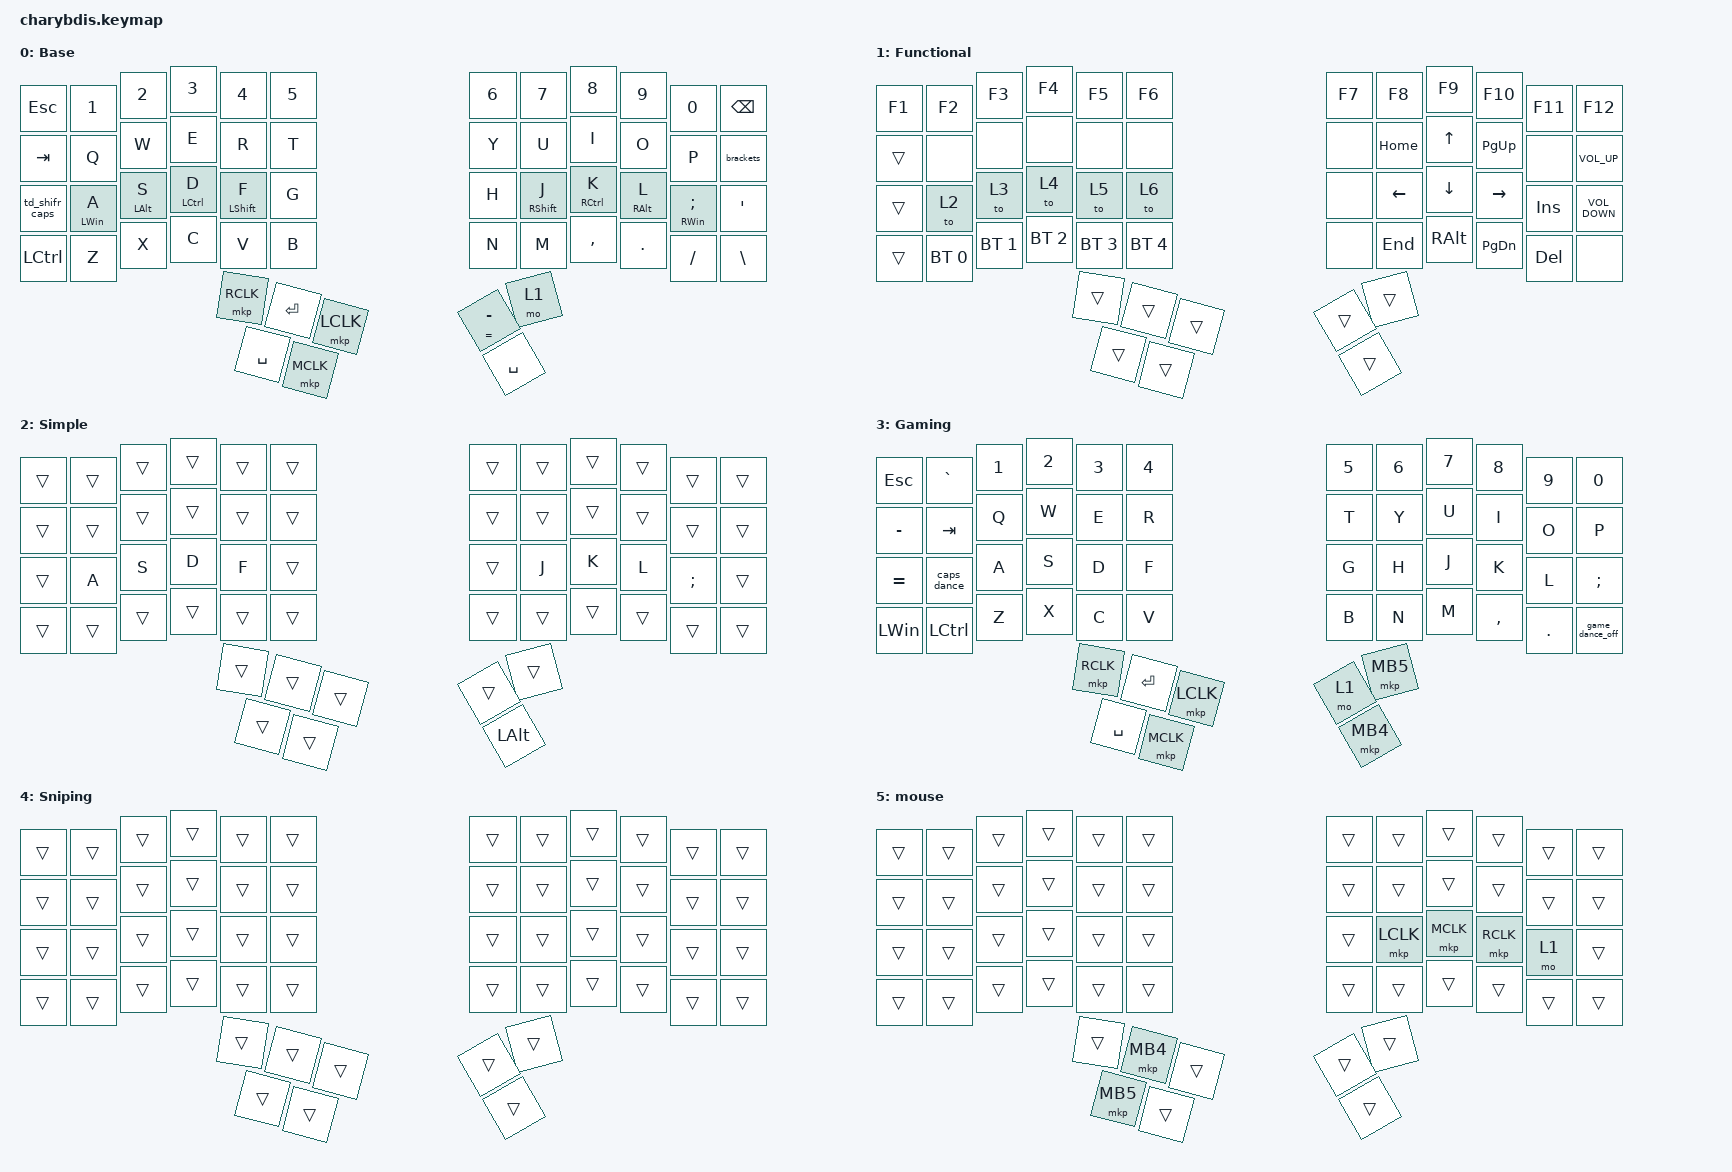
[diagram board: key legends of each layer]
#include <dt-bindings/zmk/mouse.h>
#include <behaviors/mouse_keys.dtsi>
#include <dt-bindings/zmk/modifiers.h>
#include <behaviors.dtsi>
#include <dt-bindings/zmk/bt.h>
#include <dt-bindings/zmk/keys.h>
#include <dt-bindings/zmk/pointing.h>
#include <dt-bindings/zmk/rgb.h>

/ {
    chosen { zmk,physical-layout = &charybdis_6col_layout; };
};

&mt {
    quick-tap-ms = <150>;
    flavor = "tap-preferred";
    tapping-term-ms = <150>;
    require-prior-idle-ms = <150>;
};

&lt {
    quick-tap-ms = <170>;
    flavor = "tap-preferred";
    tapping-term-ms = <150>;
};

// Layer definitions

#define QWERTY 0
#define FUNCTIONAL 1
#define SYMBOLS 2
#define GAMING 3
#define SNIPING 4

// #define SCROLL 5
// #define SNIPING 6
// #define GAMING 7

/ {
    behaviors {
        ts_snipe: trackball_snipe {
            compatible = "zmk,behavior-pointing-snipe";
            #binding-cells = <0>;
            velocity-multiplier = <4 1>;
        };

        ts_scroll: trackball_scroll {
            compatible = "zmk,behavior-pointing-scroll";
            #binding-cells = <0>;
            trigger-toggle;
        };

        game_dance_on: game_dance_on {
            compatible = "zmk,behavior-tap-dance";
            #binding-cells = <0>;
            tapping-term-ms = <250>;
            bindings = <&kp SEMI>, <&tog_game_on>;
        };

        game_dance_off: game_dance_off {
            compatible = "zmk,behavior-tap-dance";
            #binding-cells = <0>;
            tapping-term-ms = <180>;
            bindings = <&kp SLASH>, <&tog_game_off>;
        };

        caps_dance: caps_dance {
            compatible = "zmk,behavior-tap-dance";
            label = "CAPS_DANCE";
            #binding-cells = <0>;
            bindings = <&kp LEFT_SHIFT>, <&kp CAPSLOCK>;
        };

        td_shifr_caps: td_shifr_caps {
            compatible = "zmk,behavior-tap-dance";
            label = "TD_SHIFR_CAPS";
            #binding-cells = <0>;
            bindings = <&mt LEFT_SHIFT LEFT_SHIFT>, <&kp CAPSLOCK>;

            tapping-term-ms = <200>;
        };

        brackets: brackets {
            compatible = "zmk,behavior-tap-dance";
            label = "BRACKETS";
            #binding-cells = <0>;
            bindings = <&kp LEFT_BRACKET>, <&kp RIGHT_BRACKET>;
        };

        // Hold-tap behavior for layer with tap-preferred

        blt: blt {
            compatible = "zmk,behavior-hold-tap";
            #binding-cells = <2>;
            flavor = "tap-preferred";
            tapping-term-ms = <200>;
            quick-tap-ms = <300>;
            require-prior-idle-ms = <100>;
            bindings = <&mo>, <&kp>;
        };

        // Tap-dance for GUI/Ctrl+B

        gui_ctrlb: gui_ctrlb {
            compatible = "zmk,behavior-tap-dance";
            #binding-cells = <0>;
            tapping-term-ms = <200>;
            bindings = <&kp LGUI>, <&kp LC(B)>;
        };

        // Tap/hold Alt, double-tap Ctrl+Shift+Z

        lalt_dt: lalt_dt {
            compatible = "zmk,behavior-tap-dance";
            #binding-cells = <0>;
            tapping-term-ms = <200>;
            bindings = <&kp LALT>, <&kp LC(LS(Z))>;
        };

        // Home row mods - Left hand

        hml: home_row_mod_left {
            compatible = "zmk,behavior-hold-tap";
            #binding-cells = <2>;
            flavor = "balanced";
            require-prior-idle-ms = <150>;
            tapping-term-ms = <280>;
            quick-tap-ms = <175>;
            bindings = <&kp>, <&kp>;

            hold-trigger-key-positions = <6 7 8 9 10 11 18 19 20 21 22 23 30 31 32 33 34 35 42 43 44 45 46 47 53 54 55>; // Right side keys
            hold-trigger-on-release;
        };

        // Home row mods - Right hand

        hmr: home_row_mod_right {
            compatible = "zmk,behavior-hold-tap";
            #binding-cells = <2>;
            flavor = "balanced";
            require-prior-idle-ms = <150>;
            tapping-term-ms = <280>;
            quick-tap-ms = <175>;
            bindings = <&kp>, <&kp>;

            hold-trigger-key-positions = <0 1 2 3 4 5 12 13 14 15 16 17 24 25 26 27 28 29 36 37 38 39 40 41 48 49 50 51 52>; // Left side keys
            hold-trigger-on-release;
        };

        // RGB controls routed globally so split halves stay in sync.

        rgb_loc: rgbloc {
            compatible = "zmk,behavior-rgb-local";
            #binding-cells = <2>;
        };

        // RGB controls: dedicated direct bindings.
    };

    macros {
        tog_game_on: tog_game_on {
            compatible = "zmk,behavior-macro";
            label = "tog_game_on";
            #binding-cells = <0>;
            bindings = <&rgb_ug RGB_COLOR_HSB(0,100,50) &to 6>; // &amc AM_OFF 
        };

        tog_game_off: tog_game_off {
            compatible = "zmk,behavior-macro";
            label = "tog_game_off";
            #binding-cells = <0>;
            bindings = <&rgb_ug RGB_EFR &to 0>; // &amc AM_ON 
        };

        // Ctrl+Alt+Cmd macro

        CAC: CAC {
            compatible = "zmk,behavior-macro-one-param";
            #binding-cells = <1>;
            bindings =
                <&macro_press>,
                <&kp LCTRL &kp LALT &kp LGUI &macro_param_1to1>,
                <&macro_tap>,
                <&kp MACRO_PLACEHOLDER>,
                <&macro_release>,
                <&kp LCTRL &kp LALT &kp LGUI>;
        };

        // Ctrl+Shift+Alt macro

        CSA: CSA {
            compatible = "zmk,behavior-macro-one-param";
            #binding-cells = <1>;
            bindings =
                <&macro_press>,
                <&kp LCTRL &kp LSHIFT &kp LALT &macro_param_1to1>,
                <&macro_tap>,
                <&kp MACRO_PLACEHOLDER>,
                <&macro_release>,
                <&kp LCTRL &kp LSHIFT &kp LALT>;
        };

        // Ctrl+Alt macro

        CA: CA {
            compatible = "zmk,behavior-macro-one-param";
            #binding-cells = <1>;
            bindings =
                <&macro_press>,
                <&kp LCTRL &kp LALT &macro_param_1to1>,
                <&macro_tap>,
                <&kp MACRO_PLACEHOLDER>,
                <&macro_release>,
                <&kp LCTRL &kp LALT>;
        };

        // Hold Ctrl+Cmd+Left Click while key is pressed (for mouse drag window actions)

        ctrl_cmd_hold: ctrl_cmd_hold {
            compatible = "zmk,behavior-macro";
            wait-ms = <0>;
            tap-ms = <10>;
            #binding-cells = <0>;
            bindings =
                <&macro_press>,
                <&kp LCTRL &kp LGUI &mkp LCLK>,
                <&macro_pause_for_release>,
                <&macro_release>,
                <&mkp LCLK &kp LCTRL &kp LGUI>;
        };
    };

    combos {
        compatible = "zmk,combos";
        timeout-ms = <20>;
        require-prior-idle-ms = <250>;

        // Studio Unlock Combo - all three right thumb keys

        combo_studio_unlock {
            timeout-ms = <50>;
            key-positions = <53 54 55>;
            bindings = <&studio_unlock>;
        };

        // Gaming layer toggle combo - keys 49, 55, 54

        combo_gaming_toggle {
            timeout-ms = <50>;
            key-positions = <49 55 54>;
            bindings = <&tog GAMING>;
        };

        bt_clr_cmb {
            bindings = <&bt BT_CLR>;
            key-positions = <17 18>;
            layers = <1>;
            timeout-ms = <50>;
        };

        to_l0_cmb {
            bindings = <&to 0>;
            key-positions = <1 3 10 8>;
        };
    };

    keymap {
        compatible = "zmk,keymap";

        // ╭─────────────┬─────────────┬─────────────┬─────────────┬─────────────┬─────────────╮   ╭─────────────┬─────────────┬─────────────┬─────────────┬─────────────┬─────────────╮
        //    0             1             2             3             4             5                 11            10             9             8             7             6
        // ├─────────────┼─────────────┼─────────────┼─────────────┼─────────────┼─────────────┤   ├─────────────┼─────────────┼─────────────┼─────────────┼─────────────┼─────────────┤
        //   12            13            14            15            16            17                 23            22            21            20            19            18
        // ├─────────────┼─────────────┼─────────────┼─────────────┼─────────────┼─────────────┤   ├─────────────┼─────────────┼─────────────┼─────────────┼─────────────┼─────────────┤
        //   24            25            26            27            28            29                 35            34            33            32            31            30
        // ├─────────────┼─────────────┼─────────────┼─────────────┼─────────────┼─────────────┤   ├─────────────┼─────────────┼─────────────┼─────────────┼─────────────┼─────────────┤
        //   36            37            38            39            40            41                 47            46            45            44            43            42
        // ╰─────────────┴─────────────┴─────────────┴─────────────┴─────────────┴─────────────╯   ╰─────────────┴─────────────┴─────────────┴─────────────┴─────────────┴─────────────╯
        //               ╭─────────────┬─────────────┬─────────────┬─────────────┬─────────────╮   ╭─────────────┬─────────────┬─────────────╮
        //                  48            49            50            51            52                55            54            53
        //               ╰─────────────┴─────────────┴─────────────┴─────────────┴─────────────╯   ╰─────────────┴─────────────┴─────────────╯
        //                                                                         Actual Key Positions
        //                                          ╭─────────────┬─────────────┬─────────────╮    ╭─────────────┬─────────────╮
        //                                             48            49            50                 54            53
        //                                          ╰─────────────┼─────────────┼─────────────┤    ├─────────────┼─────────────╯
        //                                                           51            52                 55
        //                                                        ╰─────────────┴─────────────╯    ╰─────────────╯

        qwerty_layer {
            label = "QWERTY";
            display-name = "Base";
            bindings = <
&kp ESC           &kp N1          &kp N2          &kp N3              &kp N4            &kp N5       &kp N6           &kp N7             &kp N8               &kp N9           &kp N0                   &kp BACKSPACE
&kp TAB           &kp Q           &kp W           &kp E               &kp R             &kp T        &kp Y            &kp U              &kp I                &kp O            &kp P                    &brackets
&td_shifr_caps    &mt LEFT_WIN A  &mt LEFT_ALT S  &mt LEFT_CONTROL D  &mt LEFT_SHIFT F  &kp G        &kp H            &mt RIGHT_SHIFT J  &mt RIGHT_CONTROL K  &mt RIGHT_ALT L  &mt RIGHT_WIN SEMICOLON  &kp APOS
&kp LEFT_CONTROL  &kp Z           &kp X           &kp C               &kp V             &kp B        &kp N            &kp M              &kp COMMA            &kp DOT          &kp FSLH                 &kp BACKSLASH
                                                  &mkp LCLK           &mkp MCLK         &mkp RCLK    &kp ENTER        &kp SPACE
                                                                      &kp SPACE         &mo 1        &mt EQUAL MINUS
            >;
        };

        functional_layer {
            label = "FUNCTIONAL";
            display-name = "Functional";
            bindings = <
&kp F1  &kp F2        &kp F3        &kp F4        &kp F5        &kp F6          &kp F7  &kp F8          &kp F9          &kp F10          &kp F11     &kp F12
&trans  &none         &none         &none         &none         &none           &none   &kp HOME        &kp UP_ARROW    &kp PAGE_UP      &none       &kp C_VOLUME_UP
&trans  &to 2         &to 3         &to 4         &to 5         &to 6           &none   &kp LEFT_ARROW  &kp DOWN_ARROW  &kp RIGHT_ARROW  &kp INSERT  &kp C_VOLUME_DOWN
&trans  &bt BT_SEL 0  &bt BT_SEL 1  &bt BT_SEL 2  &bt BT_SEL 3  &bt BT_SEL 4    &none   &kp END         &kp RIGHT_ALT   &kp PAGE_DOWN    &kp DELETE  &none
                                    &trans        &trans        &trans          &trans  &trans
                                                  &trans        &trans          &trans
            >;
        };

        simple_layer {
            label = "SIMPLE";
            display-name = "Simple";
            bindings = <
&trans  &trans  &trans  &trans  &trans        &trans    &trans  &trans  &trans  &trans  &trans         &trans
&trans  &trans  &trans  &trans  &trans        &trans    &trans  &trans  &trans  &trans  &trans         &trans
&trans  &kp A   &kp S   &kp D   &kp F         &trans    &trans  &kp J   &kp K   &kp L   &kp SEMICOLON  &trans
&trans  &trans  &trans  &trans  &trans        &trans    &trans  &trans  &trans  &trans  &trans         &trans
                        &trans  &trans        &trans    &trans  &trans
                                &kp LEFT_ALT  &trans    &trans
            >;
        };

        gaming_layer {
            label = "GAMING";
            display-name = "Gaming";
            bindings = <
&kp ESC       &kp GRAVE         &kp N1  &kp N2     &kp N3     &kp N4       &kp N5     &kp N6     &kp N7  &kp N8     &kp N9      &kp N0
&kp MINUS     &kp TAB           &kp Q   &kp W      &kp E      &kp R        &kp T      &kp Y      &kp U   &kp I      &kp O       &kp P
&kp EQUAL     &caps_dance       &kp A   &kp S      &kp D      &kp F        &kp G      &kp H      &kp J   &kp K      &kp L       &kp SEMICOLON
&kp LEFT_WIN  &kp LEFT_CONTROL  &kp Z   &kp X      &kp C      &kp V        &kp B      &kp N      &kp M   &kp COMMA  &kp PERIOD  &game_dance_off
                                        &mkp LCLK  &mkp MCLK  &mkp RCLK    &kp ENTER  &kp SPACE
                                                   &mkp MB4   &mkp MB5     &mo 1
            >;
        };

        sniping_layer {
            label = "SNIPING";
            display-name = "Sniping";
            bindings = <
&trans  &trans  &trans  &trans  &trans  &trans    &trans  &trans  &trans  &trans  &trans  &trans
&trans  &trans  &trans  &trans  &trans  &trans    &trans  &trans  &trans  &trans  &trans  &trans
&trans  &trans  &trans  &trans  &trans  &trans    &trans  &trans  &trans  &trans  &trans  &trans
&trans  &trans  &trans  &trans  &trans  &trans    &trans  &trans  &trans  &trans  &trans  &trans
                        &trans  &trans  &trans    &trans  &trans
                                &trans  &trans    &trans
            >;
        };

        mouse {
            bindings = <
&trans  &trans  &trans  &trans  &trans  &trans    &trans    &trans     &trans     &trans     &trans  &trans
&trans  &trans  &trans  &trans  &trans  &trans    &trans    &trans     &trans     &trans     &trans  &trans
&trans  &trans  &trans  &trans  &trans  &trans    &trans    &mkp LCLK  &mkp MCLK  &mkp RCLK  &mo 1   &trans
&trans  &trans  &trans  &trans  &trans  &trans    &trans    &trans     &trans     &trans     &trans  &trans
                        &trans  &trans  &trans    &mkp MB4  &mkp MB5
                                &trans  &trans    &trans
            >;
        };

        //    scroll_layer {
        //      label = "SCROLL";
        //      display-name = "Scroll";
        //      bindings = <
        // ╭─────────────┬─────────────┬─────────────┬─────────────┬─────────────┬─────────────╮   ╭─────────────┬─────────────┬─────────────┬─────────────┬─────────────┬─────────────╮
        //    &trans        &trans        &trans        &trans        &trans        &trans            &trans        &trans        &trans        &trans        &trans        &trans
        // ├─────────────┼─────────────┼─────────────┼─────────────┼─────────────┼─────────────┤   ├─────────────┼─────────────┼─────────────┼─────────────┼─────────────┼─────────────┤
        //    &trans        &trans        &trans        &trans        &trans        &trans            &trans        &trans        &trans        &trans        &trans        &trans
        // ├─────────────┼─────────────┼─────────────┼─────────────┼─────────────┼─────────────┤   ├─────────────┼─────────────┼─────────────┼─────────────┼─────────────┼─────────────┤
        //    &trans        &trans        &trans        &trans        &trans        &trans            &trans        &trans        &trans        &trans        &trans        &trans
        // ├─────────────┼─────────────┼─────────────┼─────────────┼─────────────┼─────────────┤   ├─────────────┼─────────────┼─────────────┼─────────────┼─────────────┼─────────────┤
        //    &trans        &trans        &trans        &trans        &trans        &trans            &trans        &trans        &trans        &trans        &trans        &trans
        // ╰─────────────┴─────────────┴─────────────┴─────────────┴─────────────┴─────────────╯   ╰─────────────┴─────────────┴─────────────┴─────────────┴─────────────┴─────────────╯
        //               ╭─────────────┬─────────────┬─────────────┬─────────────┬─────────────╮   ╭─────────────┬─────────────┬─────────────╮
        //                  &trans        &trans        &trans        &trans        &trans            &trans        &trans        &trans
        //               ╰─────────────┴─────────────┴─────────────┴─────────────┴─────────────╯   ╰─────────────┴─────────────┴─────────────╯
        //      >;
        //    };
        //    sniping_layer {
        //      label = "SNIPING";
        //      display-name = "Sniping";
        //      bindings = <
        // ╭─────────────┬─────────────┬─────────────┬─────────────┬─────────────┬─────────────╮   ╭─────────────┬─────────────┬─────────────┬─────────────┬─────────────┬─────────────╮
        //    &trans        &trans        &trans        &trans        &trans        &trans            &trans        &trans        &trans        &trans        &trans        &trans
        // ├─────────────┼─────────────┼─────────────┼─────────────┼─────────────┼─────────────┤   ├─────────────┼─────────────┼─────────────┼─────────────┼─────────────┼─────────────┤
        //    &trans        &trans        &trans        &trans        &trans        &trans            &trans        &trans        &trans        &trans        &trans        &trans
        // ├─────────────┼─────────────┼─────────────┼─────────────┼─────────────┼─────────────┤   ├─────────────┼─────────────┼─────────────┼─────────────┼─────────────┼─────────────┤
        //    &trans        &trans        &trans        &trans        &trans        &trans            &trans        &trans        &trans        &trans        &trans        &trans
        // ├─────────────┼─────────────┼─────────────┼─────────────┼─────────────┼─────────────┤   ├─────────────┼─────────────┼─────────────┼─────────────┼─────────────┼─────────────┤
        //    &trans        &trans        &trans        &trans        &trans        &trans            &trans        &trans        &trans        &trans        &trans        &trans
        // ╰─────────────┴─────────────┴─────────────┴─────────────┴─────────────┴─────────────╯   ╰─────────────┴─────────────┴─────────────┴─────────────┴─────────────┴─────────────╯
        //               ╭─────────────┬─────────────┬─────────────┬─────────────┬─────────────╮   ╭─────────────┬─────────────┬─────────────╮
        //                  &trans        &trans        &trans        &trans        &trans            &trans        &trans        &trans
        //               ╰─────────────┴─────────────┴─────────────┴─────────────┴─────────────╯   ╰─────────────┴─────────────┴─────────────╯
        //      >;
        //    };
        //    gaming_layer {
        //      label = "GAMING";
        //      display-name = "Gaming";
        //      bindings = <
        // ╭─────────────┬─────────────┬─────────────┬─────────────┬─────────────┬─────────────╮   ╭─────────────┬─────────────┬─────────────┬─────────────┬─────────────┬─────────────╮
        //    &kp ESC       &kp N1       &kp N2        &kp N3        &kp N4        &kp N5            &kp N6        &kp N7        &kp N8        &kp N9        &kp N0        &kp DEL
        // ├─────────────┼─────────────┼─────────────┼─────────────┼─────────────┼─────────────┤   ├─────────────┼─────────────┼─────────────┼─────────────┼─────────────┼─────────────┤
        //    &kp T        &kp TAB       &kp Q         &kp W         &kp E         &kp R             &kp Y         &kp U         &kp I         &kp O         &kp P         &kp BSLH
        // ├─────────────┼─────────────┼─────────────┼─────────────┼─────────────┼─────────────┤   ├─────────────┼─────────────┼─────────────┼─────────────┼─────────────┼─────────────┤
        //    &kp G        &kp LSFT      &kp A         &kp S         &kp D         &kp F             &kp H         &kp J         &kp K         &kp L         &kp SEMI      &kp SQT
        // ├─────────────┼─────────────┼─────────────┼─────────────┼─────────────┼─────────────┤   ├─────────────┼─────────────┼─────────────┼─────────────┼─────────────┼─────────────┤
        //    &kp B        &kp LCTRL     &kp Z         &kp X         &kp C         &kp V             &kp N         &kp M         &kp COMMA     &kp DOT       &kp FSLH      &kp RSFT
        // ╰─────────────┴─────────────┴─────────────┴─────────────┴─────────────┴─────────────╯   ╰─────────────┴─────────────┴─────────────┴─────────────┴─────────────┴─────────────╯
        //               ╭─────────────┬─────────────┬─────────────┬─────────────┬─────────────╮   ╭─────────────┬─────────────┬─────────────╮
        //                  &trans        &trans        &kp SPACE     &trans        &trans            &trans        &trans        &trans
        //               ╰─────────────┴─────────────┴─────────────┴─────────────┴─────────────╯   ╰─────────────┴─────────────┴─────────────╯
        //      >;
        //    };
    };
};
